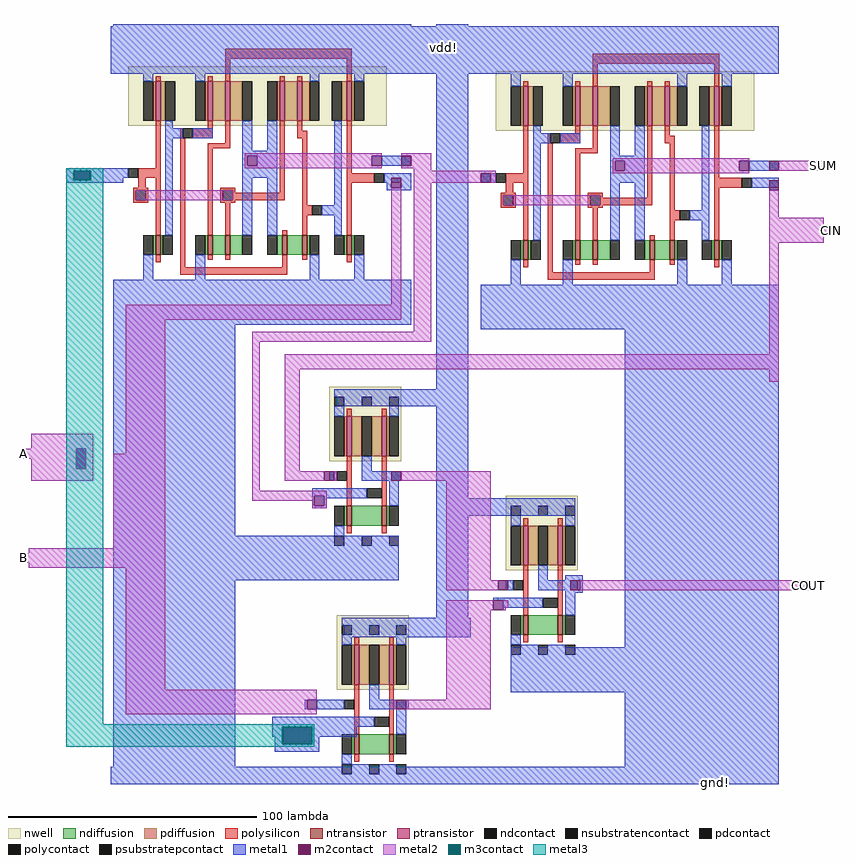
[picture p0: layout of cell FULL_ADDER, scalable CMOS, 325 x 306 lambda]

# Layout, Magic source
magic
tech scmos
<< metal1 >>
rect 130 120 143 121
rect -1 101 268 120
rect -19 57 4 63
rect 110 59 120 60
rect 110 55 112 59
rect 116 55 120 59
rect 110 54 120 55
rect 0 -85 49 16
rect 130 -26 143 101
rect 90 -33 143 -26
rect 80 -69 88 -66
rect 80 -73 81 -69
rect 85 -70 88 -69
rect 130 -70 143 -33
rect 206 15 255 16
rect 85 -73 86 -70
rect 80 -74 86 -73
rect 130 -77 186 -70
rect 0 -103 115 -85
rect 0 -178 49 -103
rect 130 -118 143 -77
rect 182 -103 189 -101
rect 182 -107 184 -103
rect 188 -107 189 -103
rect 182 -108 189 -107
rect 153 -111 160 -110
rect 157 -114 160 -111
rect 93 -126 144 -118
rect 206 -130 268 15
rect 160 -148 268 -130
rect 77 -155 78 -151
rect 82 -155 91 -151
rect 64 -166 98 -158
rect 65 -172 83 -166
rect 206 -178 268 -148
rect -1 -185 268 -178
<< metal2 >>
rect 116 68 128 69
rect 120 64 128 68
rect 116 63 128 64
rect 121 62 128 63
rect 268 62 286 66
rect 121 61 154 62
rect 112 8 116 55
rect 5 2 116 8
rect 121 57 148 61
rect 152 57 154 61
rect -33 -50 -8 -44
rect -36 -54 -15 -50
rect -33 -58 -15 -54
rect -11 -58 -8 -50
rect 5 -52 21 2
rect 121 -3 128 57
rect -33 -63 -8 -58
rect 0 -90 21 -52
rect 56 -7 128 -3
rect 264 43 268 54
rect 264 40 286 43
rect 264 36 289 40
rect 264 33 286 36
rect 56 -67 59 -7
rect 264 -12 268 33
rect 69 -18 268 -12
rect 69 -59 75 -18
rect 264 -23 268 -18
rect 69 -63 85 -59
rect 89 -63 90 -59
rect 116 -63 152 -59
rect 56 -69 86 -67
rect 56 -71 81 -69
rect 80 -73 81 -71
rect 85 -73 86 -69
rect 80 -74 86 -73
rect -34 -92 21 -90
rect -36 -96 21 -92
rect -34 -98 21 -96
rect 5 -147 21 -98
rect 134 -103 152 -63
rect 134 -107 155 -103
rect 188 -107 280 -103
rect 134 -115 153 -111
rect 157 -114 159 -111
rect 157 -115 158 -114
rect 5 -151 82 -147
rect 134 -151 152 -115
rect 5 -155 78 -151
rect 113 -155 114 -151
rect 118 -155 152 -151
rect 5 -157 82 -155
<< metal3 >>
rect -19 62 -4 63
rect -19 58 -16 62
rect -9 58 -4 62
rect -19 -161 -4 58
rect -19 -162 81 -161
rect -19 -169 68 -162
rect 80 -169 81 -162
rect -19 -170 81 -169
<< m2contact >>
rect 116 64 120 68
rect 112 55 116 59
rect -15 -58 -11 -50
rect 264 62 268 66
rect 148 57 152 61
rect 264 54 268 58
rect 85 -63 89 -59
rect 112 -63 116 -59
rect 81 -73 85 -69
rect 155 -107 159 -103
rect 184 -107 188 -103
rect 153 -115 157 -111
rect 78 -155 82 -151
rect 114 -155 118 -151
<< m3contact >>
rect -16 58 -9 62
rect 68 -169 80 -162
use XOR  XOR_0
transform 1 0 22 0 1 30
box -22 -30 98 91
use XOR  XOR_1
transform 1 0 170 0 1 28
box -22 -30 98 91
use NAND  NAND_0
transform 1 0 95 0 1 -59
box -8 -34 21 34
use NAND  NAND_1
transform 1 0 98 0 1 -151
box -8 -34 21 34
use NAND  NAND_2
transform 1 0 166 0 1 -103
box -8 -34 21 34
<< labels >>
rlabel metal2 -36 -96 -36 -92 3 B
rlabel metal2 -36 -54 -36 -50 3 A
rlabel metal2 289 36 289 40 7 CIN
rlabel metal2 280 -107 280 -103 1 COUT
rlabel metal2 286 62 286 66 7 SUM
rlabel metal1 110 110 156 113 1 vdd!
rlabel metal1 218 -185 267 -184 1 gnd!
<< end >>

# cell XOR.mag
magic
tech scmos
<< nwell >>
rect -16 50 88 74
<< polysilicon >>
rect 23 77 74 81
rect -5 68 -3 70
rect 16 68 18 70
rect 23 68 25 77
rect 45 68 47 70
rect 52 68 54 70
rect 72 68 74 77
rect -5 33 -3 52
rect 16 49 18 52
rect -12 29 -3 33
rect -12 25 -9 29
rect -14 24 -8 25
rect -14 20 -13 24
rect -9 20 -8 24
rect -14 19 -8 20
rect -5 6 -3 29
rect 5 45 6 49
rect 10 45 18 49
rect -5 -5 -3 -2
rect 5 -7 7 45
rect 23 43 25 52
rect 16 41 25 43
rect 16 6 18 41
rect 21 24 27 25
rect 21 20 22 24
rect 26 23 27 24
rect 45 23 47 52
rect 52 48 54 52
rect 52 45 56 48
rect 26 20 47 23
rect 21 19 27 20
rect 23 6 25 19
rect 54 18 56 45
rect 72 31 74 52
rect 72 27 83 31
rect 54 14 58 18
rect 46 6 48 8
rect 54 6 56 14
rect 72 6 74 27
rect 16 -4 18 -2
rect 23 -4 25 -2
rect 46 -7 48 -2
rect 54 -4 56 -2
rect 72 -5 74 -2
rect 5 -10 48 -7
<< ndiffusion >>
rect -6 -2 -5 6
rect -3 -2 -2 6
rect 15 -2 16 6
rect 18 -2 23 6
rect 25 -2 30 6
rect 44 -2 46 6
rect 48 -2 54 6
rect 56 -2 57 6
rect 71 -2 72 6
rect 74 -2 75 6
<< pdiffusion >>
rect -6 52 -5 68
rect -3 52 -1 68
rect 15 52 16 68
rect 18 52 23 68
rect 25 52 30 68
rect 44 52 45 68
rect 47 52 52 68
rect 54 52 57 68
rect 70 52 72 68
rect 74 52 75 68
<< metal1 >>
rect -22 73 98 91
rect -10 68 -6 73
rect 11 68 15 73
rect 57 68 61 73
rect 75 68 79 73
rect -1 49 2 52
rect -1 45 6 49
rect 10 45 18 49
rect -22 29 -16 33
rect -1 6 2 45
rect 30 40 34 52
rect 40 40 44 52
rect 30 38 44 40
rect 30 34 32 38
rect 36 34 44 38
rect 30 29 44 34
rect 30 6 34 29
rect 40 6 44 29
rect 67 18 70 52
rect 86 34 98 38
rect 87 27 98 31
rect 62 14 70 18
rect 67 6 70 14
rect -10 -12 -6 -2
rect 11 -12 15 -2
rect 57 -12 61 -2
rect 75 -12 79 -2
rect -22 -30 98 -12
<< metal2 >>
rect 31 38 86 39
rect 31 34 32 38
rect 36 34 82 38
rect 31 33 86 34
rect -13 20 26 24
<< ntransistor >>
rect -5 -2 -3 6
rect 16 -2 18 6
rect 23 -2 25 6
rect 46 -2 48 6
rect 54 -2 56 6
rect 72 -2 74 6
<< ptransistor >>
rect -5 52 -3 68
rect 16 52 18 68
rect 23 52 25 68
rect 45 52 47 68
rect 52 52 54 68
rect 72 52 74 68
<< polycontact >>
rect -16 29 -12 33
rect -13 20 -9 24
rect 6 45 10 49
rect 22 20 26 24
rect 83 27 87 31
rect 58 14 62 18
<< ndcontact >>
rect -10 -2 -6 6
rect -2 -2 2 6
rect 11 -2 15 6
rect 30 -2 34 6
rect 40 -2 44 6
rect 57 -2 61 6
rect 67 -2 71 6
rect 75 -2 79 6
<< pdcontact >>
rect -10 52 -6 68
rect -1 52 3 68
rect 11 52 15 68
rect 30 52 34 68
rect 40 52 44 68
rect 57 52 61 68
rect 66 52 70 68
rect 75 52 79 68
<< m2contact >>
rect 32 34 36 38
rect 82 34 86 38
<< labels >>
rlabel metal1 -3 91 68 91 5 vdd!
rlabel metal1 2 -30 73 -30 1 gnd!
rlabel metal1 98 34 98 38 7 XOR
rlabel metal1 -22 29 -22 33 3 A
rlabel metal1 98 27 98 31 7 B
<< end >>

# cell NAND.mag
magic
tech scmos
<< nwell >>
rect -8 4 21 34
<< polysilicon >>
rect -1 22 1 25
rect 13 22 15 25
rect -1 -14 1 6
rect 13 -14 15 6
rect -1 -25 1 -22
rect 13 -25 15 -22
<< ndiffusion >>
rect -2 -22 -1 -14
rect 1 -22 13 -14
rect 15 -22 16 -14
<< pdiffusion >>
rect -2 6 -1 22
rect 1 6 5 22
rect 9 6 13 22
rect 15 6 16 22
<< metal1 >>
rect -6 30 20 33
rect -2 26 5 30
rect 9 26 16 30
rect -6 22 -2 26
rect 16 22 20 26
rect 5 0 9 6
rect -8 -4 -5 0
rect 5 -4 21 0
rect -8 -11 7 -7
rect 16 -14 20 -4
rect -6 -26 -2 -22
rect -2 -30 5 -26
rect 9 -30 16 -26
rect -6 -34 20 -30
<< ntransistor >>
rect -1 -22 1 -14
rect 13 -22 15 -14
<< ptransistor >>
rect -1 6 1 22
rect 13 6 15 22
<< polycontact >>
rect -5 -4 -1 0
rect 7 -11 13 -7
<< ndcontact >>
rect -6 -22 -2 -14
rect 16 -22 20 -14
<< pdcontact >>
rect -6 6 -2 22
rect 5 6 9 22
rect 16 6 20 22
<< psubstratepcontact >>
rect -6 -30 -2 -26
rect 5 -30 9 -26
rect 16 -30 20 -26
<< nsubstratencontact >>
rect -6 26 -2 30
rect 5 26 9 30
rect 16 26 20 30
<< labels >>
rlabel metal1 20 -4 20 0 7 NAND_AB
rlabel pdcontact 7 8 7 8 1 NAND_AB
rlabel ndiffusion 6 -17 6 -17 1 DS
rlabel nsubstratencontact 18 27 18 27 7 vdd!
rlabel polycontact 11 -10 11 -10 1 IN_B
rlabel metal1 18 -12 18 -12 7 NAND_AB
rlabel metal1 -8 -4 -8 0 3 IN_A
rlabel metal1 -8 -11 -8 -7 3 IN_B
rlabel psubstratepcontact -6 -30 -2 -26 2 gnd!
rlabel ndcontact -4 -18 -4 -18 3 gnd!
rlabel nsubstratencontact -6 26 -2 30 3 vdd!
<< end >>
